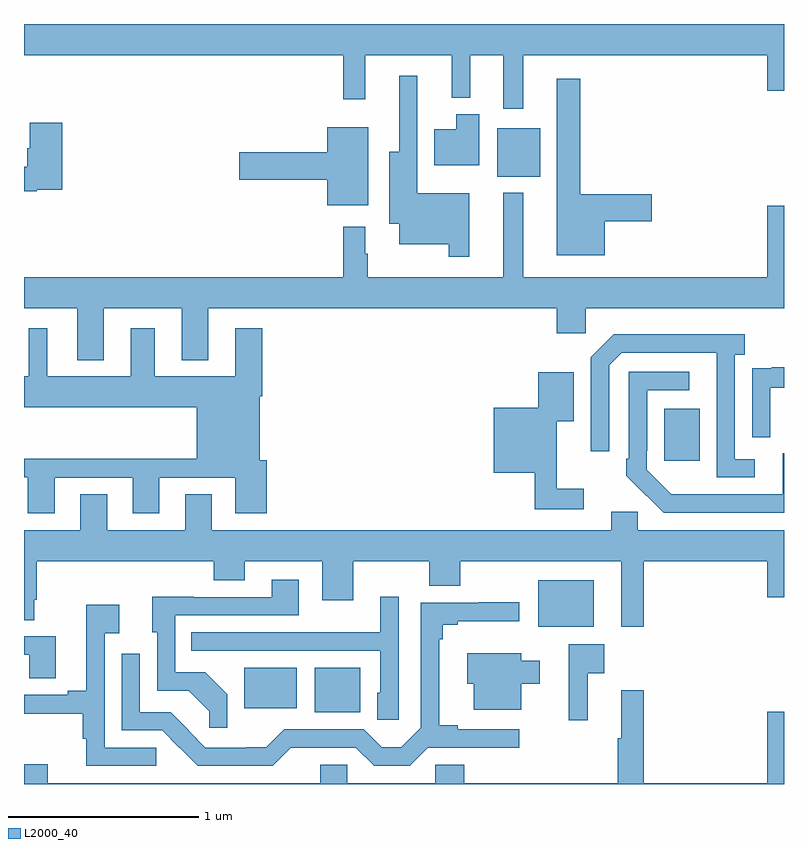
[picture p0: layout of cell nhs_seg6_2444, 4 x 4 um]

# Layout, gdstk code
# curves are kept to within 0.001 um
import gdstk
lib = gdstk.Library(unit=1e-6, precision=1e-09)
def R(c, l, rs):  # rectangles x0, y0, x1, y1
    for r in rs: c.add(gdstk.rectangle(r[:2], r[2:], *l))
def P(c, l, *ps):  # polygons
    for p in ps: c.add(gdstk.Polygon(p, *l))
L2000_40 = (2000, 40)

nhs_seg6_2444 = lib.new_cell('nhs_seg6_2444')
R(nhs_seg6_2444, L2000_40, [(258.53,943.877,258.769,944.113), (258.158,943.898,258.436,944.113), (259.706,944.327,259.999,944.572), (260.369,945.201,260.557,945.475), (259.49,946.697,259.717,946.951)])
P(nhs_seg6_2444, L2000_40, [(257,947.336),(258.679,947.336),(258.679,947.103),(258.797,947.103),(258.797,947.336),(259.25,947.336),(259.25,947.111),(259.348,947.111),(259.348,947.336),(259.523,947.336),(259.523,947.055),(259.627,947.055),(259.627,947.336),(260.912,947.336),(260.912,947.148),(261,947.148),(261,947.5),(257,947.5)],
  [(259.344,946.609),(259.071,946.609),(259.071,947.227),(258.974,947.227),(258.974,946.828),(258.923,946.828),(258.923,946.448),(258.974,946.448),(258.974,946.34),(259.236,946.34),(259.236,946.275),(259.344,946.275)],
  [(260.056,946.462),(260.305,946.462),(260.305,946.604),(259.927,946.604),(259.927,947.212),(259.805,947.212),(259.805,946.283),(260.056,946.283)],
  [(259.396,947.026),(259.274,947.026),(259.274,946.945),(259.16,946.945),(259.16,946.757),(259.396,946.757)],
  [(257.067,946.628),(257.201,946.628),(257.201,946.981),(257.03,946.981),(257.03,946.847),(257.017,946.847),(257.017,946.75),(257,946.75),(257,946.621),(257.067,946.621)],
  [(258.811,946.957),(258.596,946.957),(258.596,946.826),(258.132,946.826),(258.132,946.679),(258.596,946.679),(258.596,946.547),(258.811,946.547)],
  [(257.419,946.004),(257.831,946.004),(257.831,945.731),(257.971,945.731),(257.971,946.004),(259.805,946.004),(259.805,945.873),(259.956,945.873),(259.956,946.004),(261,946.004),(261,946.543),(260.912,946.543),(260.912,946.168),(259.627,946.168),(259.627,946.612),(259.523,946.612),(259.523,946.168),(258.808,946.168),(258.808,946.292),(258.795,946.292),(258.795,946.432),(258.679,946.432),(258.679,946.168),(257,946.168),(257,946.004),(257.279,946.004),(257.279,945.731),(257.419,945.731)],
  [(257.161,945.111),(257.573,945.111),(257.573,944.925),(257.713,944.925),(257.713,945.111),(258.113,945.111),(258.113,944.925),(258.278,944.925),(258.278,945.204),(258.241,945.204),(258.241,945.542),(258.254,945.542),(258.254,945.898),(258.113,945.898),(258.113,945.646),(257.689,945.646),(257.689,945.898),(257.561,945.898),(257.561,945.646),(257.122,945.646),(257.122,945.898),(257.024,945.898),(257.024,945.646),(257,945.646),(257,945.482),(257.909,945.482),(257.909,945.212),(257,945.212),(257,945.114),(257.021,945.114),(257.021,944.925),(257.161,944.925)],
  [(260.845,945.21),(260.742,945.21),(260.742,945.758),(260.794,945.758),(260.794,945.868),(260.104,945.868),(259.983,945.747),(259.983,945.252),(260.079,945.252),(260.079,945.705),(260.145,945.771),(260.645,945.771),(260.646,945.114),(260.845,945.114)],
  [(260.928,945.585),(261,945.585),(261,945.694),(260.935,945.694),(260.935,945.687),(260.833,945.687),(260.833,945.578),(260.832,945.578),(260.832,945.324),(260.928,945.324)],
  [(261,945.24),(260.993,945.24),(260.993,945.024),(260.406,945.025),(260.277,945.153),(260.277,945.253),(260.28,945.253),(260.28,945.573),(260.5,945.573),(260.5,945.669),(260.184,945.669),(260.184,945.211),(260.169,945.211),(260.169,945.123),(260.366,944.928),(261,944.928)],
  [(259.945,945.055),(259.805,945.055),(259.805,945.41),(259.894,945.41),(259.894,945.667),(259.706,945.667),(259.706,945.481),(259.472,945.481),(259.472,945.137),(259.687,945.137),(259.687,944.946),(259.945,944.946)],
  [(257.999,944.573),(258.163,944.573),(258.163,944.672),(258.569,944.672),(258.569,944.466),(258.733,944.466),(258.733,944.672),(259.133,944.672),(259.133,944.544),(259.297,944.544),(259.297,944.672),(260.144,944.672),(260.144,944.328),(260.261,944.328),(260.261,944.672),(260.912,944.672),(260.912,944.484),(261,944.484),(261,944.836),(260.229,944.836),(260.229,944.934),(260.09,944.934),(260.09,944.836),(257.989,944.836),(257.989,945.026),(257.849,945.026),(257.849,944.836),(257.437,944.836),(257.437,945.026),(257.297,945.026),(257.297,944.836),(257,944.836),(257,944.362),(257.053,944.362),(257.053,944.47),(257.066,944.47),(257.066,944.672),(257.999,944.672)],
  [(258.069,943.972),(257.953,944.088),(257.796,944.088),(257.796,944.388),(258.445,944.388),(258.445,944.575),(258.305,944.575),(258.305,944.484),(257.893,944.484),(257.893,944.486),(257.675,944.486),(257.675,944.298),(257.7,944.298),(257.7,943.992),(257.866,943.992),(257.974,943.884),(257.974,943.797),(258.069,943.797)],
  [(258.972,944.485),(258.875,944.485),(258.875,944.299),(258.541,944.299),(258.541,944.298),(257.881,944.298),(257.881,944.202),(258.876,944.202),(258.876,943.98),(258.86,943.98),(258.86,943.837),(258.972,943.837)],
  [(258.404,943.691),(258.747,943.692),(258.843,943.596),(259.03,943.596),(259.126,943.692),(259.606,943.691),(259.606,943.788),(259.282,943.788),(259.282,943.808),(259.186,943.808),(259.186,944.261),(259.205,944.261),(259.205,944.338),(259.282,944.338),(259.282,944.357),(259.606,944.357),(259.606,944.456),(259.393,944.456),(259.393,944.454),(259.089,944.454),(259.089,943.797),(258.985,943.693),(258.884,943.693),(258.789,943.788),(258.369,943.788),(258.275,943.694),(258.17,943.694),(258.17,943.692),(257.955,943.692),(257.865,943.782),(257.867,943.784),(257.773,943.878),(257.61,943.878),(257.61,944.185),(257.514,944.185),(257.514,943.782),(257.727,943.782),(257.915,943.596),(258.309,943.596)],
  [(257.697,943.692),(257.424,943.692),(257.424,944.294),(257.5,944.294),(257.5,944.443),(257.327,944.443),(257.327,943.991),(257.231,943.991),(257.231,943.971),(257,943.971),(257,943.87),(257.308,943.87),(257.308,943.739),(257.327,943.739),(257.327,943.596),(257.697,943.596)],
  [(257.167,944.277),(257,944.277),(257,944.181),(257.027,944.181),(257.027,944.056),(257.167,944.056)],
  [(259.967,944.084),(260.053,944.084),(260.053,944.236),(259.868,944.236),(259.868,943.836),(259.967,943.836)],
  [(259.618,944.027),(259.714,944.027),(259.714,944.149),(259.618,944.149),(259.618,944.188),(259.334,944.188),(259.334,944.027),(259.367,944.027),(259.367,943.892),(259.618,943.892)],
  [(261,943.879),(260.912,943.879),(260.912,943.504),(260.261,943.504),(260.261,943.993),(260.144,943.993),(260.144,943.74),(260.125,943.74),(260.125,943.504),(259.316,943.504),(259.316,943.602),(259.164,943.602),(259.164,943.504),(258.702,943.504),(258.702,943.602),(258.56,943.602),(258.56,943.504),(257.125,943.504),(257.125,943.603),(257,943.603),(257,943.5),(261,943.5)])

lib.write_gds('nhs_seg6_2444.gds')
